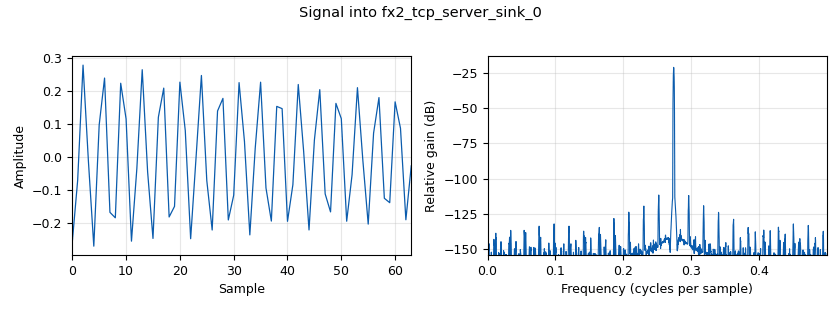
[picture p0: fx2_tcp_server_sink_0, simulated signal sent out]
<?xml version='1.0' encoding='utf-8'?>
<?grc format='1' created='3.7.13'?>
<flow_graph>
<block>
<key>options</key>
<param><key>id</key><value>top_block</value></param>
<param><key>generate_options</key><value>qt_gui</value></param>
</block>
<block>
<key>variable_qtgui_range</key>
<param><key>id</key><value>freq</value></param>
<param><key>value</key><value>549e3</value></param>
<param><key>label</key><value>Freq</value></param>
<param><key>orient</key><value>Qt.Horizontal</value></param>
<param><key>start</key><value>0</value></param>
<param><key>step</key><value>9e3</value></param>
<param><key>stop</key><value>samp_rate / 2</value></param>
</block>
<block>
<key>variable_qtgui_range</key>
<param><key>id</key><value>led</value></param>
<param><key>value</key><value>0</value></param>
<param><key>label</key><value>LED</value></param>
<param><key>orient</key><value>Qt.Horizontal</value></param>
<param><key>start</key><value>0</value></param>
<param><key>step</key><value>1</value></param>
<param><key>stop</key><value>255</value></param>
<param><key>rangeType</key><value>int</value></param>
</block>
<block>
<key>variable</key>
<param><key>id</key><value>samp_rate</value></param>
<param><key>value</key><value>2000000</value></param>
</block>
<block>
<key>variable_qtgui_range</key>
<param><key>id</key><value>signalFreq</value></param>
<param><key>value</key><value>1000</value></param>
<param><key>label</key><value>Signal Freq</value></param>
<param><key>orient</key><value>Qt.Horizontal</value></param>
<param><key>start</key><value>0</value></param>
<param><key>step</key><value>1e3</value></param>
<param><key>stop</key><value>15e3</value></param>
</block>
<block>
<key>analog_sig_source_x</key>
<param><key>id</key><value>analog_sig_source_x_0</value></param>
<param><key>amp</key><value>1</value></param>
<param><key>freq</key><value>freq</value></param>
<param><key>offset</key><value>0</value></param>
<param><key>type</key><value>float</value></param>
<param><key>samp_rate</key><value>samp_rate</value></param>
<param><key>waveform</key><value>analog.GR_COS_WAVE</value></param>
</block>
<block>
<key>analog_sig_source_x</key>
<param><key>id</key><value>analog_sig_source_x_0_0</value></param>
<param><key>amp</key><value>1</value></param>
<param><key>freq</key><value>signalFreq</value></param>
<param><key>offset</key><value>0</value></param>
<param><key>type</key><value>float</value></param>
<param><key>samp_rate</key><value>44.1e3</value></param>
<param><key>waveform</key><value>analog.GR_COS_WAVE</value></param>
</block>
<block>
<key>blocks_add_const_vxx</key>
<param><key>id</key><value>blocks_add_const_vxx_1</value></param>
<param><key>const</key><value>1</value></param>
<param><key>type</key><value>float</value></param>
</block>
<block>
<key>blocks_multiply_const_vxx</key>
<param><key>id</key><value>blocks_multiply_const_vxx_1</value></param>
<param><key>const</key><value>0.5</value></param>
<param><key>type</key><value>float</value></param>
</block>
<block>
<key>blocks_multiply_xx</key>
<param><key>id</key><value>blocks_multiply_xx_0</value></param>
<param><key>type</key><value>float</value></param>
</block>
<block>
<key>blocks_wavfile_source</key>
<param><key>id</key><value>blocks_wavfile_source_0</value></param>
<param><key>_enabled</key><value>0</value></param>
<param><key>file</key><value>C:\Temp\01.wav</value></param>
<param><key>repeat</key><value>True</value></param>
</block>
<block>
<key>epy_block</key>
<param><key>id</key><value>epy_block_0</value></param>
<param><key>address</key><value>'127.0.0.1'</value></param>
<param><key>_source_code</key><value>import numpy as np
from gnuradio import gr
import socket

class blk(gr.basic_block):
    """Embedded Python Block example - DAC_SA"""

    def __init__(self, address='127.0.0.1', port=53005, led=0, sample_rate=2e6):
        gr.basic_block.__init__(
            self,
            name='DAC_SA',
            in_sig=None,
            out_sig=None
        )
        self._address = address
        self._port = port
        self._led = led
        self._sample_rate = sample_rate

        try:
            self._connect()
            self._send_led()
            self._send_sample_rate()
        except:
            pass

    def _connect(self):
        print('connecting to %s:%d' % (self._address, self._port))
        self._client = socket.socket(socket.AF_INET, socket.SOCK_STREAM)
        self._client.connect((self._address, self._port))
        self._stream = self._client.makefile(mode='rw')

    def _send_led(self):
        try:
            self._stream.write('*W32:0x%x 0x%x\n' % (0x0, int(self._led)))
            self._stream.flush()
        except:
            self._connect()
            self._stream.write('*W32:0x%x 0x%x\n' % (0x0, int(self._led)))
            self._stream.flush()

    def _send_sample_rate(self):
        if int(self._sample_rate) &lt;= 0:
            return
        count = 48000000 / int(self._sample_rate)
        try:
            self._stream.write('*W32:0x%x %d\n' % (0x10, count))
            self._stream.flush()
        except:
            self._connect()
            self._stream.write('*W32:0x%x %d\n' % (0x10, count))
            self._stream.flush()

    @property
    def led(self):
        return self._led

    @led.setter
    def led(self, led):
        self._led = led
        self._send_led()

    @property
    def sample_rate(self):
        return self._sample_rate

    @sample_rate.setter
    def sample_rate(self, sample_rate):
        self._sample_rate = sample_rate
        self._send_sample_rate()
</value></param>
<param><key>led</key><value>led</value></param>
<param><key>port</key><value>53005</value></param>
<param><key>sample_rate</key><value>samp_rate</value></param>
</block>
<block>
<key>fx2_tcp_server_sink</key>
<param><key>id</key><value>fx2_tcp_server_sink_0</value></param>
<param><key>ipaddr</key><value>'0.0.0.0'</value></param>
<param><key>port</key><value>52005</value></param>
</block>
<block>
<key>qtgui_sink_x</key>
<param><key>id</key><value>qtgui_sink_x_0</value></param>
<param><key>bw</key><value>samp_rate</value></param>
<param><key>fc</key><value>0</value></param>
<param><key>freqchangevar</key><value>None</value></param>
<param><key>_enabled</key><value>0</value></param>
<param><key>fftsize</key><value>1024</value></param>
<param><key>showports</key><value>True</value></param>
<param><key>type</key><value>float</value></param>
<param><key>wintype</key><value>firdes.WIN_BLACKMAN_hARRIS</value></param>
</block>
<block>
<key>rational_resampler_xxx</key>
<param><key>id</key><value>rational_resampler_xxx_0</value></param>
<param><key>decim</key><value>44100</value></param>
<param><key>interp</key><value>samp_rate</value></param>
<param><key>taps</key><value></value></param>
<param><key>type</key><value>fff</value></param>
</block>
<connection><source_block_id>analog_sig_source_x_0</source_block_id><sink_block_id>blocks_multiply_xx_0</sink_block_id><source_key>0</source_key><sink_key>0</sink_key></connection>
<connection><source_block_id>analog_sig_source_x_0_0</source_block_id><sink_block_id>blocks_add_const_vxx_1</sink_block_id><source_key>0</source_key><sink_key>0</sink_key></connection>
<connection><source_block_id>blocks_add_const_vxx_1</source_block_id><sink_block_id>blocks_multiply_const_vxx_1</sink_block_id><source_key>0</source_key><sink_key>0</sink_key></connection>
<connection><source_block_id>blocks_multiply_const_vxx_1</source_block_id><sink_block_id>rational_resampler_xxx_0</sink_block_id><source_key>0</source_key><sink_key>0</sink_key></connection>
<connection><source_block_id>blocks_multiply_xx_0</source_block_id><sink_block_id>fx2_tcp_server_sink_0</sink_block_id><source_key>0</source_key><sink_key>0</sink_key></connection>
<connection><source_block_id>blocks_multiply_xx_0</source_block_id><sink_block_id>qtgui_sink_x_0</sink_block_id><source_key>0</source_key><sink_key>0</sink_key></connection>
<connection><source_block_id>blocks_wavfile_source_0</source_block_id><sink_block_id>blocks_add_const_vxx_1</sink_block_id><source_key>0</source_key><sink_key>0</sink_key></connection>
<connection><source_block_id>rational_resampler_xxx_0</source_block_id><sink_block_id>blocks_multiply_xx_0</sink_block_id><source_key>0</source_key><sink_key>1</sink_key></connection>
</flow_graph>
